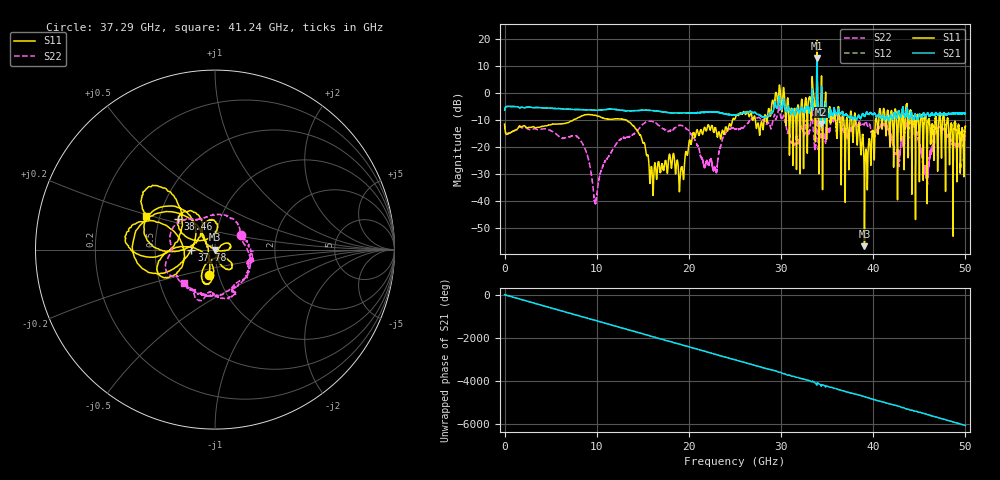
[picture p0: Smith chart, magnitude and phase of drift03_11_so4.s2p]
!Created with skrf (http://scikit-rf.org).
# Hz S RI R 50.0
!freq ReS11 ImS11 ReS21 ImS21 ReS12 ImS12 ReS22 ImS22
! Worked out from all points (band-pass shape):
!   10001 points, 300 kHz to 50 GHz, reference 50 ohm
!   highest |S21| = 12.90 dB at 33.9 GHz (marker M1); lowest = -11.6 dB at 34.32 GHz (marker M2)
!   |S21| within 3 dB of the highest: 33.89048 GHz to 33.90596 GHz (15.48 MHz wide, 0.0457 % of centre)
!   lowest |S11| = -56.8 dB at 39.05 GHz (marker M3), VSWR 1.00, Z = 50.1 - j0.117 ohm
!   |S11| at or under -10 dB: start of sweep to 7.485 GHz; 13.13 GHz to 24.74 GHz (11.61 GHz wide, 61.3 % of centre); 38.09 GHz to 40.26 GHz (2.168 GHz wide, 5.53 % of centre)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
!   |S22| runs from -41.1 to 5.1 dB; largest |S21 - S12| = 0.33
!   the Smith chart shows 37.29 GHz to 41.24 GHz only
!   S11 on the Smith chart (normalised r, x): 37.29 GHz: 0.90, -0.26; 37.78 GHz: 0.77, -0.00; 38.46 GHz: 0.63, +0.23; 41.24 GHz: 0.42, +0.19
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300000  -0.235 -0.1164  0.468 0.0769  0.4647 0.0768  -0.236 -0.1222
1.440291e9  0.2102 0.0647  -0.5475 -0.0296  -0.5481 -0.029  0.2112 -0.00455
2.915283e9  -0.2118 -0.0881  0.534 0.0512  0.5347 0.0513  -0.2028 0.0402
4.415274e9  0.2067 0.1323  -0.5219 -0.042  -0.5218 -0.0417  0.1977 -0.0873
8.33525e9  0.2885 -0.2336  0.1465 0.4656  0.1466 0.4662  -0.0734 -0.1007
9.855241e9  -0.3614 0.1347  -0.1576 -0.4493  -0.158 -0.4493  0.00899 0.0021
1.66702e10  0.0272 0.0447  -0.3781 0.2546  -0.3786 0.2546  -0.1264 -0.2187
2.281016e10  0.00131 0.2139  -0.2816 0.3432  -0.2815 0.3438  -0.0332 0.024
2.500015e10  -0.3272 -0.0135  -0.2557 -0.2964  -0.2544 -0.2979  -0.2135 0.0268
2.895513e10  -0.324 0.4311  -0.2877 0.3262  -0.2978 0.2922  0.0634 0.2203
3.006512e10  0.4005 0.2639  0.4485 -0.1978  0.4512 -0.184  0.1712 -0.2988
3.171011e10  -0.089 0.1839  -0.3607 0.3572  -0.3583 0.3574  0.0647 0.1578
3.33351e10  0.5917 -0.8041  0.2434 -0.8293  0.2452 -0.8133  -0.1936 -0.4186
3.39001e10  2.967 -8.734  -4.098 -1.647  -3.987 -1.335  -0.5474 1.718
3.432009e10  -0.782 0.00454  -0.1787 0.1936  -0.24 0.1753  0.1435 -0.0683
3.728508e10  -0.0339 -0.1417  -0.3519 0.095  -0.3425 0.0989  0.1444 0.0832
3.778007e10  -0.1315 -0.000867  -0.082 0.3184  -0.0787 0.3182  0.1599 -0.171
3.845507e10  -0.2059 0.1702  0.2929 0.2251  0.3032 0.2303  -0.075 -0.2839
3.905007e10  0.000854 -0.00117  0.2944 -0.2149  0.2986 -0.2171  -0.2135 -0.1476
4.123505e10  -0.382 0.1861  0.2042 0.2483  0.2046 0.246  -0.1717 -0.185
4.167005e10  -0.1957 0.3023  0.3107 0.00569  0.3123 0.00944  -0.1903 -0.00813
5e10  -0.1339 -0.2033  0.1486 0.3858  0.1493 0.3839  -0.0557 -0.1468
